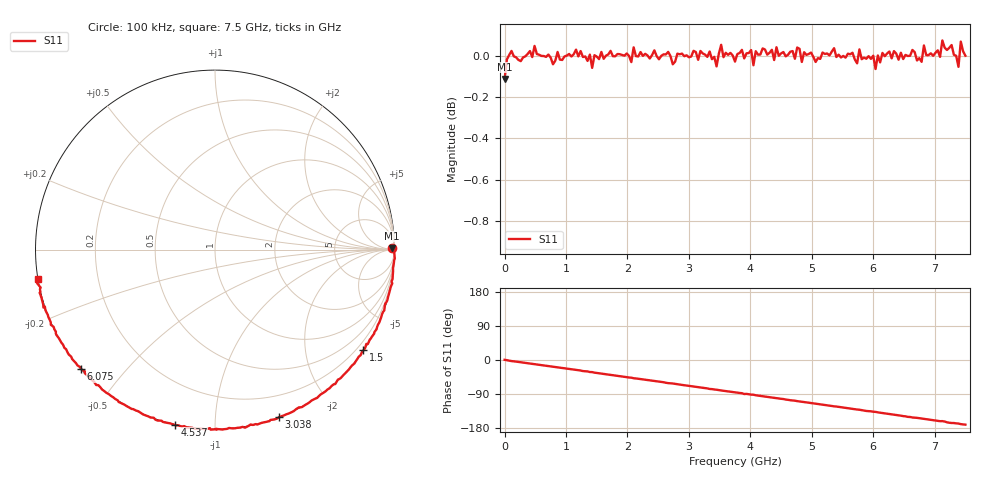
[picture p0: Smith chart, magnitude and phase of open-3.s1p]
# Hz S DB R 50.000000
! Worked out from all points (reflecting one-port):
!   201 points, 100 kHz to 7.5 GHz, reference 50 ohm
!   lowest |S11| = -0.1 dB at 100 kHz (marker M1), VSWR 156.48, Z = 5.16e+03 + j3.71e+03 ohm
!   phase of S11 starts at 1 deg and turns -171 deg over the sweep
!   S11 on the Smith chart (normalised r, x): 100 kHz: open; 1.5 GHz: 0.00, -3.25; 3.038 GHz: 0.00, -1.45; 4.537 GHz: -0.00, -0.80; 6.075 GHz: -0.00, -0.38; 7.5 GHz: -0.00, -0.08
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100000  -0.11 0.5
1.12597e8  0.03 -2.8
4.87587e8  0.05 -10.8
9.37575e8  -0.02 -21.4
1.237567e9  0.02 -27.8
1.50006e9  -0.00 -34.2
1.87505e9  0.01 -42.6
2.062545e9  -0.03 -46.6
2.100044e9  0.04 -48.2
2.812525e9  0.01 -64.1
3.037519e9  -0.00 -69.2
3.525006e9  0.06 -80.4
3.75e9  -0.03 -85.5
3.862497e9  0.03 -87.6
3.899996e9  -0.01 -89.8
3.937495e9  0.01 -89.4
4.049992e9  -0.04 -91.6
4.537479e9  0.02 -103.0
4.687475e9  0.02 -106.9
5.174962e9  0.02 -117.6
5.62495e9  0.01 -128.0
6.074938e9  0.00 -138.2
6.562425e9  0.00 -150.0
7.087411e9  -0.00 -161.5
7.12491e9  0.08 -161.3
7.237407e9  0.04 -165.6
7.312405e9  0.01 -166.3
7.4999e9  0.00 -170.6
